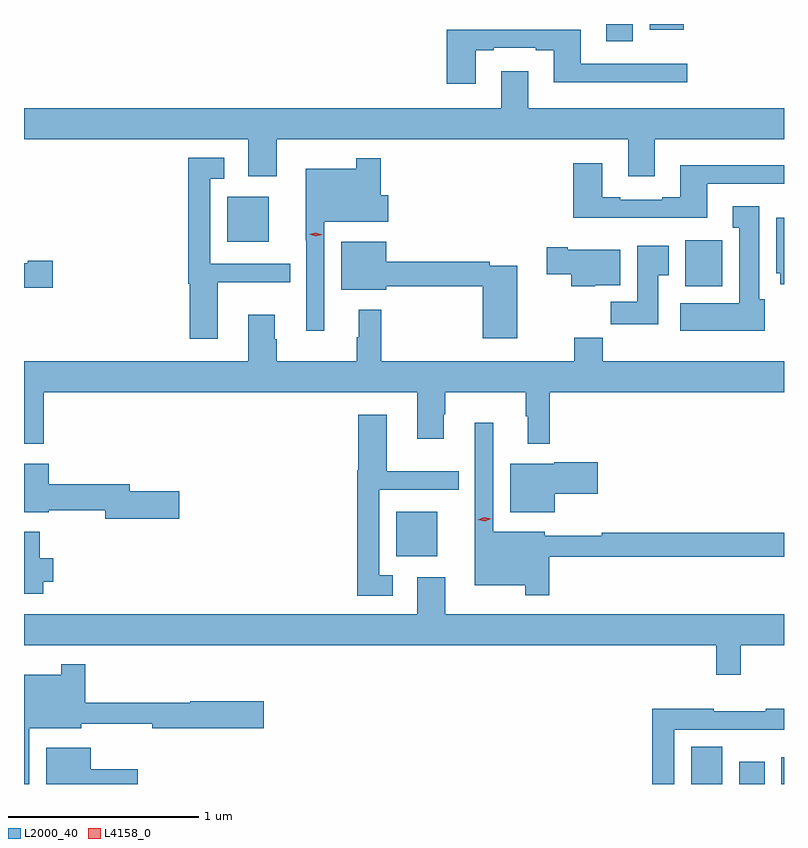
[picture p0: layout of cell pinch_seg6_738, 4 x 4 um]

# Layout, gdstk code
import gdstk
lib = gdstk.Library(unit=1e-6, precision=1e-09)
def R(c, l, rs):  # rectangles x0, y0, x1, y1
    for r in rs: c.add(gdstk.rectangle(r[:2], r[2:], *l))
def P(c, l, *ps):  # polygons
    for p in ps: c.add(gdstk.Polygon(p, *l))
L2000_40 = (2000, 40)
L4158_0 = (4158, 0)

pinch_seg6_738 = lib.new_cell('pinch_seg6_738')
R(pinch_seg6_738, L2000_40, [(510.086,942.611,510.249,942.808), (510.338,942.611,510.472,942.727), (510.56,942.611,510.574,942.751), (508.532,943.811,508.75,944.044), (510.053,945.23,510.25,945.472), (507.644,945.464,507.862,945.703), (509.639,946.521,509.779,946.611), (509.867,946.58,510.046,946.611)])
P(pinch_seg6_738, L2000_40, [(508.951,946.473),(509.047,946.473),(509.047,946.485),(509.267,946.485),(509.267,946.473),(509.363,946.473),(509.363,946.304),(510.064,946.304),(510.064,946.401),(509.503,946.401),(509.503,946.582),(508.799,946.582),(508.799,946.296),(508.951,946.296)],
  [(507.904,946.004),(509.753,946.004),(509.753,945.81),(509.893,945.81),(509.893,946.004),(510.574,946.004),(510.574,946.168),(509.227,946.168),(509.227,946.363),(509.087,946.363),(509.087,946.168),(506.574,946.168),(506.574,946.004),(507.755,946.004),(507.755,945.81),(507.904,945.81)],
  [(507.595,945.251),(507.974,945.251),(507.974,945.348),(507.555,945.348),(507.555,945.797),(507.628,945.797),(507.628,945.907),(507.439,945.907),(507.439,945.245),(507.446,945.245),(507.446,944.955),(507.595,944.955)],
  [(508.155,945.569),(508.492,945.569),(508.492,945.711),(508.451,945.711),(508.451,945.904),(508.323,945.904),(508.323,945.85),(508.058,945.85),(508.058,945.473),(508.059,945.473),(508.059,944.997),(508.155,944.997)],
  [(510.169,945.771),(510.574,945.771),(510.574,945.868),(510.029,945.868),(510.029,945.7),(509.933,945.7),(509.933,945.687),(509.713,945.687),(509.713,945.7),(509.617,945.7),(509.617,945.877),(509.465,945.877),(509.465,945.59),(510.169,945.59)],
  [(510.472,945.162),(510.445,945.162),(510.445,945.652),(510.305,945.652),(510.305,945.539),(510.338,945.539),(510.338,945.142),(510.029,945.142),(510.029,944.996),(510.472,944.996)],
  [(510.574,945.592),(510.533,945.592),(510.533,945.3),(510.554,945.3),(510.554,945.24),(510.574,945.24)],
  [(509.171,945.339),(509.024,945.339),(509.024,945.359),(508.48,945.359),(508.48,945.466),(508.244,945.466),(508.244,945.212),(508.48,945.212),(508.48,945.231),(508.988,945.231),(508.988,944.958),(509.171,944.958)],
  [(509.911,945.289),(509.968,945.289),(509.968,945.445),(509.801,945.445),(509.801,945.148),(509.662,945.148),(509.662,945.03),(509.911,945.03)],
  [(509.58,945.236),(509.713,945.236),(509.713,945.424),(509.437,945.424),(509.437,945.437),(509.325,945.437),(509.325,945.295),(509.455,945.295),(509.455,945.23),(509.58,945.23)],
  [(506.725,945.365),(506.595,945.365),(506.595,945.352),(506.574,945.352),(506.574,945.223),(506.725,945.223)],
  [(506.678,944.672),(508.643,944.672),(508.643,944.427),(508.783,944.427),(508.783,944.558),(508.791,944.558),(508.791,944.672),(509.214,944.672),(509.214,944.546),(509.225,944.546),(509.225,944.403),(509.342,944.403),(509.342,944.672),(510.574,944.672),(510.574,944.836),(509.621,944.836),(509.621,944.96),(509.47,944.96),(509.47,944.836),(508.454,944.836),(508.454,945.106),(508.337,945.106),(508.337,944.963),(508.326,944.963),(508.326,944.836),(507.903,944.836),(507.903,944.951),(507.895,944.951),(507.895,945.082),(507.755,945.082),(507.755,944.836),(506.574,944.836),(506.574,944.403),(506.678,944.403)],
  [(508.516,943.711),(508.443,943.711),(508.443,944.16),(508.862,944.16),(508.862,944.257),(508.483,944.257),(508.483,944.554),(508.334,944.554),(508.334,944.263),(508.327,944.263),(508.327,943.602),(508.516,943.602)],
  [(509.339,943.806),(510.574,943.806),(510.574,943.934),(509.616,943.934),(509.616,943.917),(509.316,943.917),(509.316,943.939),(509.043,943.939),(509.043,944.512),(508.947,944.512),(508.947,944.035),(508.946,944.035),(508.946,943.658),(509.211,943.658),(509.211,943.605),(509.339,943.605)],
  [(509.368,944.138),(509.593,944.138),(509.593,944.304),(509.364,944.304),(509.364,944.296),(509.132,944.296),(509.132,944.042),(509.368,944.042)],
  [(507.391,944.153),(507.13,944.153),(507.13,944.189),(506.704,944.189),(506.704,944.296),(506.574,944.296),(506.574,944.042),(506.704,944.042),(506.704,944.053),(507.002,944.053),(507.002,944.006),(507.391,944.006)],
  [(506.675,943.676),(506.729,943.676),(506.729,943.798),(506.656,943.798),(506.656,943.939),(506.574,943.939),(506.574,943.613),(506.675,943.613)],
  [(510.217,943.185),(510.346,943.185),(510.346,943.34),(510.574,943.34),(510.574,943.504),(508.792,943.504),(508.792,943.699),(508.643,943.699),(508.643,943.504),(506.574,943.504),(506.574,943.34),(510.217,943.34)],
  [(506.601,942.905),(506.874,942.905),(506.874,942.928),(507.25,942.928),(507.25,942.905),(507.835,942.905),(507.835,943.047),(507.45,943.047),(507.45,943.039),(506.897,943.039),(506.897,943.24),(506.769,943.24),(506.769,943.186),(506.574,943.186),(506.574,942.611),(506.601,942.611)],
  [(509.997,942.897),(510.346,942.897),(510.346,942.896),(510.574,942.896),(510.574,943.006),(510.479,943.006),(510.479,942.995),(510.204,942.995),(510.204,943.006),(509.881,943.006),(509.881,942.611),(509.997,942.611)],
  [(507.173,942.688),(506.926,942.688),(506.926,942.802),(506.69,942.802),(506.69,942.611),(507.173,942.611)])
P(pinch_seg6_738, L4158_0, [(508.109,945.493),(508.074,945.504),(508.074,945.505),(508.074,945.505),(508.11,945.513),(508.145,945.501),(508.145,945.501),(508.145,945.501)],
  [(508.998,943.994),(508.962,944.002),(508.962,944.002),(508.962,944.003),(508.997,944.014),(509.033,944.006),(509.033,944.006),(509.033,944.006)])

lib.write_gds('pinch_seg6_738.gds')
